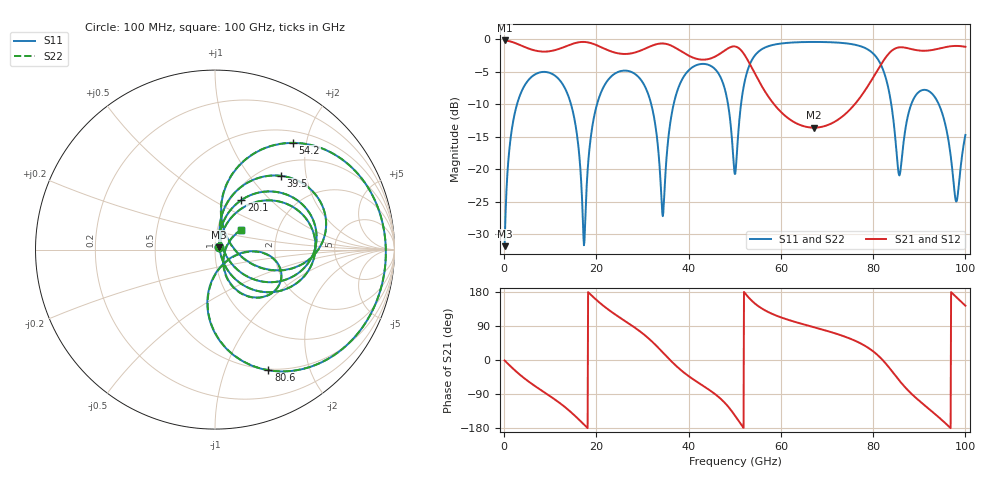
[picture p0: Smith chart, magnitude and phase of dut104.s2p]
! Touchstone file exported from HFSS 2026.1.0
!  File:  C:/ffzhzh/LocalFiles/Ansys_Project_Files/temp_train_TSV_RDL_104_1783456087_7600.aedt
!  Generated:  04:44:28 AM Jul  8, 2026
!  Design:  TSV_RDL
!  Project:  temp_train_TSV_RDL_104_1783456087_7600
! Variables:
!  h_bsmrdl = 3.01um
!  h_ox = 20um
!  h_rdl = 5um
!  h_sub = 90.93um
!  h_tmrdl = 3.36um
!  h_tsv = 90.93um
!  h_via = 3um
!  l_bsmrdl = 126.53um
!  l_sub = 3056.73um
!  l_tmrdl = 542.6um
!  m_sub = 200um
!  pitch = 43.81um
!  r_tsv = 7.32um
!  s_tmrdl = 10um
!  w_bsmrdl = 23.16um
!  w_sub = 500um
!  w_tmrdl = 12.42um
!  x_tsv_center1 = 548.81um
!  x_tsv_center2 = 698.5um
!  x_tsv_center3 = 1253.52um
!  x_tsv_center4 = 1403.21um
!  x_tsv_center5 = 1958.23um
!  x_tsv_center6 = 2107.92um
# GHz S MA R 50.000000
! Terminal data exported
! Port[1] = TM_RDL1_1_T1
! Port[2] = TM_RDL5_1_T1
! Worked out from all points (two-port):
!   1000 points, 100 MHz to 100 GHz, reference 50 ohm
!   highest |S21| = -0.19 dB at 100 MHz (marker M1); lowest = -13.6 dB at 67.2 GHz (marker M2)
!   |S21| within 3 dB of the highest: start of sweep to 52.78 GHz; 82.33 GHz to end of sweep
!   lowest |S11| = -31.8 dB at 100 MHz (marker M3), VSWR 1.05, Z = 52.3 + j1.33 ohm
!   |S11| at or under -10 dB: 14.49 GHz to 20.14 GHz (5.646 GHz wide, 32.6 % of centre); 31.89 GHz to 36.75 GHz (4.858 GHz wide, 14.2 % of centre); 94.23 GHz to end of sweep (the widest 3 of 6)
!   |S22| runs from -31.8 to -0.4 dB; largest |S21 - S12| = 6.8e-12
!   S11 on the Smith chart (normalised r, x): 100 MHz: 1.05, +0.03; 20.1 GHz: 1.12, +0.69; 39.5 GHz: 1.22, +1.44; 54.2 GHz: 0.68, +1.77; 80.6 GHz: 0.49, -1.42; 100 GHz: 1.31, +0.30
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0.1  0.0256 29.8  0.978 -1.2  0.978 -1.2  0.0256 29.8
! Gamma 0 0 0 0
! Port Impedance 50 0 50 0
2.3  0.2692 57.4  0.9369 -27.0  0.9369 -27.0  0.2692 57.4
7.2  0.5473 14.7  0.8113 -73.1  0.8113 -73.1  0.5472 14.7
13.9  0.3668 -40.2  0.8959 -131.5  0.8959 -131.5  0.3668 -40.2
16.8  0.06896 -54.1  0.9524 -164.2  0.9524 -164.2  0.06896 -54.1
20.1  0.3128 62.0  0.8978 157.5  0.8978 157.5  0.3128 62.0
28.5  0.5363 -5.6  0.7926 84.0  0.7926 84.0  0.5363 -5.6
33.4  0.1424 -41.6  0.9214 32.6  0.9214 32.6  0.1425 -41.5
34.5  0.04619 36.8  0.9267 18.7  0.9267 18.7  0.04655 36.6
39.5  0.55 48.4  0.764 -38.0  0.764 -38.0  0.55 48.3
46.7  0.5278 -5.9  0.7694 -99.7  0.7694 -99.7  0.5277 -6.0
50.1  0.09214 36.7  0.8787 -147.7  0.8787 -147.7  0.09051 36.8
54.2  0.7369 53.8  0.5572 150.7  0.5572 150.7  0.7367 53.9
66.7  0.9524 -2.6  0.2091 88.1  0.2091 88.1  0.9524 -2.5
67.2  0.9526 -4.1  0.2088 86.4  0.2088 86.4  0.9525 -4.1
80.6  0.7353 -66.1  0.551 16.9  0.551 16.9  0.7354 -66.0
83.4  0.4032 -93.8  0.7756 -19.0  0.7756 -19.0  0.4037 -93.5
85.7  0.08967 -47.4  0.8661 -54.5  0.8661 -54.5  0.09177 -47.5
89.6  0.3839 -17.4  0.8215 -103.5  0.8215 -103.5  0.384 -17.7
94.6  0.294 -57.8  0.8523 -155.1  0.8523 -155.1  0.2938 -58.2
98  0.05641 -17.6  0.8879 166.2  0.8879 166.2  0.05446 -17.7
100  0.1835 36.7  0.8735 143.2  0.8735 143.2  0.1829 37.2
